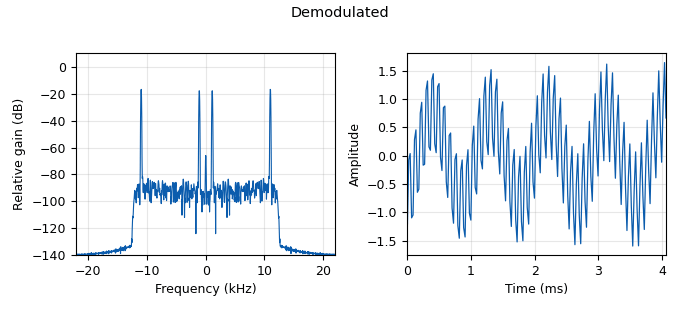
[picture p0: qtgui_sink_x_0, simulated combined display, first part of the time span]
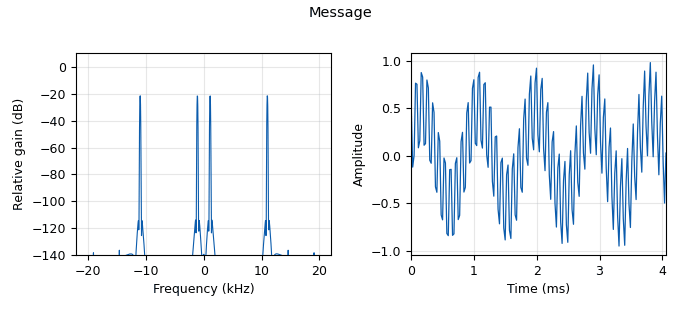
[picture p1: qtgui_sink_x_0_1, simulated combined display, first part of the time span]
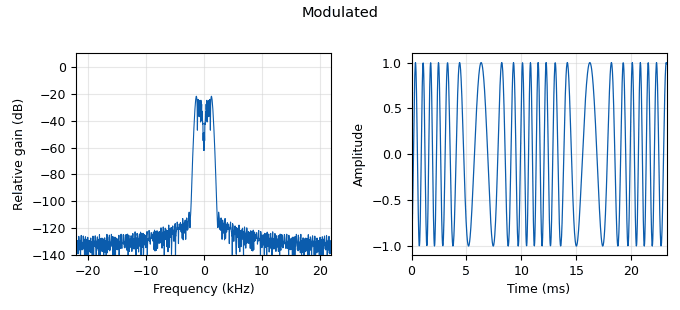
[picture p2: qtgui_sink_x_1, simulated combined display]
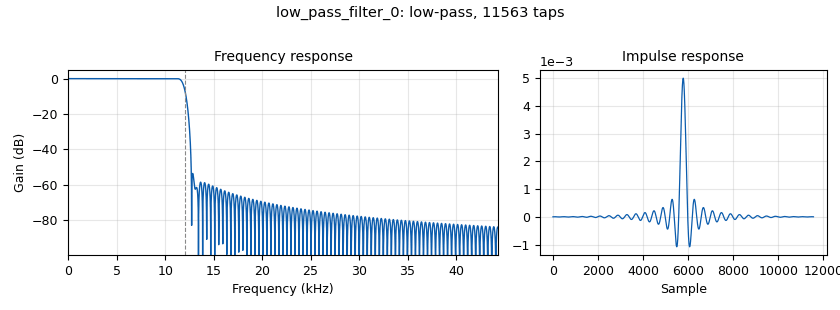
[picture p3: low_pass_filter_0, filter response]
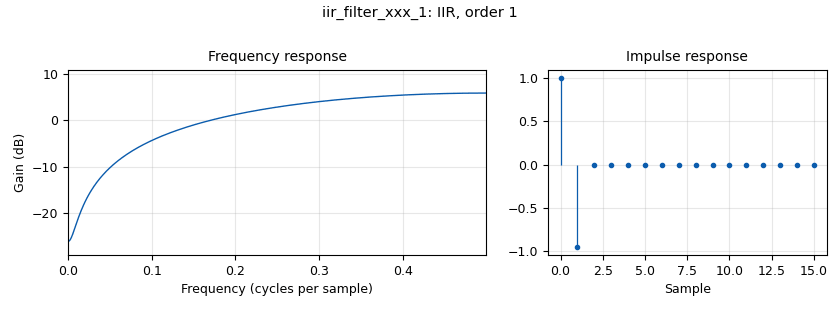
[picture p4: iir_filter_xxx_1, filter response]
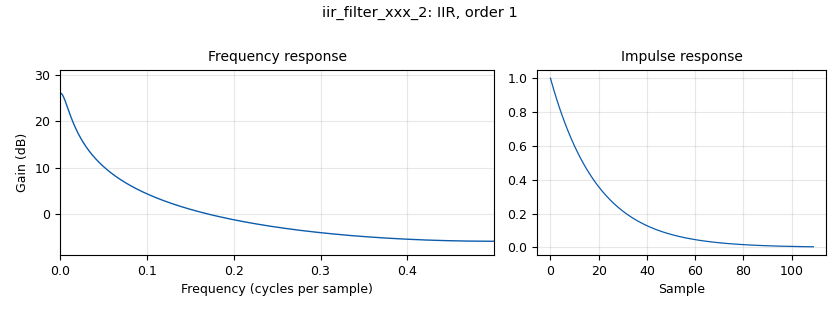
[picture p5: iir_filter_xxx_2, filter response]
options:
  parameters:
    author: sappylappy
    generate_options: qt_gui
    id: TP3
    output_language: python
    title: Not titled yet
  states: {}

blocks:
- name: audio_rate
  id: variable
  parameters:
    value: '44100'
  states: {}
- name: samp_rate
  id: variable
  parameters:
    value: '4800000'
  states: {}
- name: analog_noise_source_x_0
  id: analog_noise_source_x
  parameters:
    amp: '0.2'
    noise_type: analog.GR_GAUSSIAN
    seed: '0'
    type: complex
  states: {}
- name: analog_phase_modulator_fc_0
  id: analog_phase_modulator_fc
  parameters:
    sensitivity: 2*3.14*75*1000
  states: {}
- name: analog_sig_source_x_0
  id: analog_sig_source_x
  parameters:
    amp: '0.5'
    freq: '1100'
    offset: '0'
    phase: '0'
    samp_rate: audio_rate
    type: float
    waveform: analog.GR_COS_WAVE
  states: {}
- name: analog_sig_source_x_1
  id: analog_sig_source_x
  parameters:
    amp: '0.5'
    freq: '11000'
    offset: '0'
    phase: '0'
    samp_rate: audio_rate
    type: float
    waveform: analog.GR_COS_WAVE
  states: {}
- name: analog_sig_source_x_1_0
  id: analog_sig_source_x
  parameters:
    amp: '1'
    freq: '100000'
    offset: '0'
    phase: '0'
    samp_rate: samp_rate
    type: complex
    waveform: analog.GR_COS_WAVE
  states: {}
- name: blocks_add_xx_0
  id: blocks_add_xx
  parameters:
    type: complex
  states: {}
- name: blocks_add_xx_1
  id: blocks_add_xx
  parameters:
    type: float
  states: {}
- name: blocks_complex_to_arg_0
  id: blocks_complex_to_arg
  parameters: {}
  states: {}
- name: blocks_complex_to_real_0
  id: blocks_complex_to_real
  parameters: {}
  states: {}
- name: blocks_conjugate_cc_0
  id: blocks_conjugate_cc
  parameters: {}
  states: {}
- name: blocks_delay_0
  id: blocks_delay
  parameters:
    delay: '1'
    type: complex
  states: {}
- name: blocks_multiply_const_vxx_0_0
  id: blocks_multiply_const_vxx
  parameters:
    const: 1/6.28
    type: float
  states: {}
- name: blocks_multiply_const_vxx_0_1
  id: blocks_multiply_const_vxx
  parameters:
    const: '100'
    type: float
  states: {}
- name: blocks_multiply_xx_0
  id: blocks_multiply_xx
  parameters:
    type: complex
  states: {}
- name: blocks_multiply_xx_1
  id: blocks_multiply_xx
  parameters:
    type: complex
  states: {}
- name: blocks_throttle2_0
  id: blocks_throttle2
  parameters:
    samples_per_second: audio_rate
    type: complex
  states: {}
- name: blocks_throttle2_1
  id: blocks_throttle2
  parameters:
    samples_per_second: audio_rate
    type: float
  states: {}
- name: blocks_throttle2_1_0
  id: blocks_throttle2
  parameters:
    samples_per_second: audio_rate
    type: float
  states: {}
- name: dc_blocker_xx_0
  id: dc_blocker_xx
  parameters:
    length: '20000'
    long_form: 'True'
    type: ff
  states: {}
- name: iir_filter_xxx_0
  id: iir_filter_xxx
  parameters:
    fbtaps: '[1,1]'
    fftaps: '[0,1/audio_rate]'
    type: ffd
  states: {}
- name: iir_filter_xxx_1
  id: iir_filter_xxx
  parameters:
    fbtaps: '1'
    fftaps: '[1,-0.95]'
    oldstyle: 'False'
    type: ffd
  states: {}
- name: iir_filter_xxx_2
  id: iir_filter_xxx
  parameters:
    fbtaps: '[1,-0.95]'
    fftaps: '1'
    oldstyle: 'False'
    type: ffd
  states: {}
- name: low_pass_filter_0
  id: low_pass_filter
  parameters:
    cutoff_freq: '12000'
    decim: '1'
    gain: '1'
    samp_rate: samp_rate
    type: fir_filter_fff
    width: '1000'
    win: window.WIN_HAMMING
  states: {}
- name: qtgui_sink_x_0
  id: qtgui_sink_x
  parameters:
    bw: audio_rate
    fc: '0'
    fftsize: '1024'
    gui_hint: tab@2
    name: Demodulated
    type: float
  states: {}
- name: qtgui_sink_x_0_1
  id: qtgui_sink_x
  parameters:
    bw: audio_rate
    fc: '0'
    fftsize: '1024'
    gui_hint: tab@0
    name: Message
    type: float
  states: {}
- name: qtgui_sink_x_1
  id: qtgui_sink_x
  parameters:
    bw: audio_rate
    fc: '0'
    fftsize: '1024'
    gui_hint: tab@1
    name: Modulated
    type: float
  states: {}
- name: rational_resampler_xxx_0
  id: rational_resampler_xxx
  parameters:
    decim: audio_rate
    interp: samp_rate
    taps: ''
    type: fff
  states: {}
- name: rational_resampler_xxx_0_0
  id: rational_resampler_xxx
  parameters:
    decim: samp_rate
    interp: audio_rate
    taps: ''
    type: fff
  states: {}
- name: tab
  id: qtgui_tab_widget
  parameters:
    label0: Message
    label1: Modulated
    label2: Demodulated
    num_tabs: '3'
  states: {}

connections:
- [analog_noise_source_x_0, '0', blocks_add_xx_0, '1']
- [analog_phase_modulator_fc_0, '0', blocks_multiply_xx_0, '0']
- [analog_sig_source_x_0, '0', blocks_add_xx_1, '0']
- [analog_sig_source_x_1, '0', blocks_add_xx_1, '1']
- [analog_sig_source_x_1_0, '0', blocks_multiply_xx_0, '1']
- [blocks_add_xx_0, '0', blocks_delay_0, '0']
- [blocks_add_xx_0, '0', blocks_multiply_xx_1, '0']
- [blocks_add_xx_1, '0', blocks_throttle2_1, '0']
- [blocks_add_xx_1, '0', iir_filter_xxx_1, '0']
- [blocks_complex_to_arg_0, '0', blocks_multiply_const_vxx_0_0, '0']
- [blocks_complex_to_real_0, '0', qtgui_sink_x_1, '0']
- [blocks_conjugate_cc_0, '0', blocks_multiply_xx_1, '1']
- [blocks_delay_0, '0', blocks_conjugate_cc_0, '0']
- [blocks_multiply_const_vxx_0_0, '0', low_pass_filter_0, '0']
- [blocks_multiply_const_vxx_0_1, '0', dc_blocker_xx_0, '0']
- [blocks_multiply_xx_0, '0', blocks_add_xx_0, '0']
- [blocks_multiply_xx_0, '0', blocks_throttle2_0, '0']
- [blocks_multiply_xx_1, '0', blocks_complex_to_arg_0, '0']
- [blocks_throttle2_0, '0', blocks_complex_to_real_0, '0']
- [blocks_throttle2_1, '0', qtgui_sink_x_0_1, '0']
- [blocks_throttle2_1_0, '0', qtgui_sink_x_0, '0']
- [dc_blocker_xx_0, '0', rational_resampler_xxx_0_0, '0']
- [iir_filter_xxx_0, '0', rational_resampler_xxx_0, '0']
- [iir_filter_xxx_1, '0', iir_filter_xxx_0, '0']
- [iir_filter_xxx_2, '0', blocks_throttle2_1_0, '0']
- [low_pass_filter_0, '0', blocks_multiply_const_vxx_0_1, '0']
- [rational_resampler_xxx_0, '0', analog_phase_modulator_fc_0, '0']
- [rational_resampler_xxx_0_0, '0', iir_filter_xxx_2, '0']

metadata:
  file_format: 1
  grc_version: 3.10.9.2
